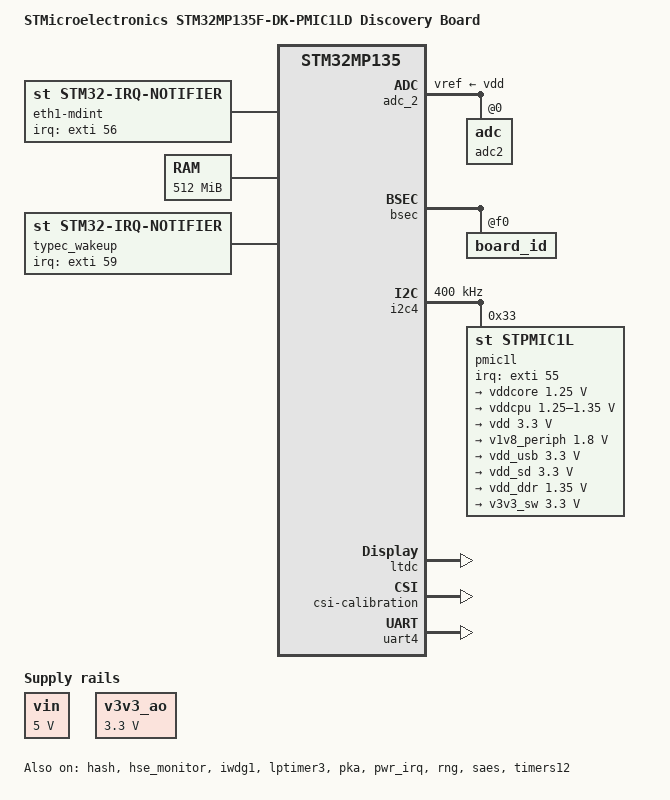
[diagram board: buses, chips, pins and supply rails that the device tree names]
// SPDX-License-Identifier: (GPL-2.0-only OR BSD-3-Clause)
/*
 * Copyright (C) 2025, STMicroelectronics - All Rights Reserved
 */

/dts-v1/;

#include <dt-bindings/clock/stm32mp13-clksrc.h>
#include <dt-bindings/gpio/gpio.h>
#include <dt-bindings/gpio/stm32mp_gpio.h>
#include <dt-bindings/mfd/st,stpmic2.h>
#include <dt-bindings/power/stm32mp1-power.h>
#include <dt-bindings/regulator/st,stm32mp13-regulator.h>
#include <dt-bindings/soc/stm32mp-provisioning.h>
#include <dt-bindings/soc/stm32mp-tzc400-macro.h>
#include <dt-bindings/soc/stm32mp13-tzc400.h>
#include <dt-bindings/tamper/st,stm32mp13-tamp.h>
#include "stm32mp135.dtsi"
#include "stm32mp13xf.dtsi"
#include "stm32mp13-pinctrl.dtsi"

/ {
	model = "STMicroelectronics STM32MP135F-DK-PMIC1LD Discovery Board";
	compatible = "st,stm32mp135f-dk-pmic1ld", "st,stm32mp135";

	aliases {
		serial0 = &uart4;
		serial1 = &usart1;
	};

	chosen {
		stdout-path = "serial0:115200n8";
	};

	eth1-mdint {
		compatible = "st,stm32-irq-notifier";
		interrupts-extended = <&exti 56 IRQ_TYPE_EDGE_FALLING>;
		st,notif-it-id = <3>;
		wakeup-source;
		status = "okay";
	};

	memory@c0000000 {
		device_type = "memory";
		reg = <0xc0000000 0x20000000>;
	};

	reserved-memory {
		#address-cells = <1>;
		#size-cells = <1>;
		ranges;

		optee_framebuffer: optee-framebuffer@dd000000 {
			/* Secure framebuffer memory */
			reg = <0xdd000000 0x1000000>;
			st,protreg = <TZC_REGION_S_RDWR 0>;
		};
	};

	shadow-prov {
		compatible = "st,provisioning";
		hw2_prov {
			nvmem-cells = <&hw2_otp>;
			st,shadow-value = <0x000001E0>;
			st,shadow-lock = <STICKY_LOCK_SR>;
		};
	};

	typec_wakeup: typec_wakeup {
		compatible = "st,stm32-irq-notifier";
		interrupts-extended = <&exti 59 IRQ_TYPE_EDGE_FALLING>;
		wakeup-source;
		st,notif-it-id = <1>;
		status = "okay";
	};

	vin: vin {
		compatible = "regulator-fixed";
		regulator-name = "vin";
		regulator-min-microvolt = <5000000>;
		regulator-max-microvolt = <5000000>;
		regulator-always-on;
	};

	v3v3_ao: v3v3_ao {
		compatible = "regulator-fixed";
		regulator-name = "v3v3_ao";
		regulator-min-microvolt = <3300000>;
		regulator-max-microvolt = <3300000>;
		regulator-always-on;
	};
};

&adc_2 {
	vdda-supply = <&vdd>;
	vref-supply = <&vdd>;
	status = "okay";

	adc2: adc@0 {
		status = "okay";

		channel@15 {
			reg = <15>;
			label = "vbat";
		};
	};
};

&bsec {
	board_id: board_id@f0 {
		reg = <0xf0 0x4>;
		st,non-secure-otp;
	};
};

&cpu0 {
	cpu-supply = <&vddcpu>;
};

&etzpc {
	st,decprot = <
		DECPROT(STM32MP1_ETZPC_ADC1_ID, DECPROT_NS_RW, DECPROT_UNLOCK)
		DECPROT(STM32MP1_ETZPC_ADC2_ID, DECPROT_S_RW, DECPROT_UNLOCK)
		DECPROT(STM32MP1_ETZPC_BKPSRAM_ID, DECPROT_S_RW, DECPROT_UNLOCK)
		DECPROT(STM32MP1_ETZPC_CRYP_ID, DECPROT_NS_RW, DECPROT_UNLOCK)
		DECPROT(STM32MP1_ETZPC_DCMIPP_ID, DECPROT_NS_RW, DECPROT_UNLOCK)
		DECPROT(STM32MP1_ETZPC_DDRCTRLPHY_ID, DECPROT_NS_R_S_W, DECPROT_UNLOCK)
		DECPROT(STM32MP1_ETZPC_ETH1_ID, DECPROT_NS_RW, DECPROT_UNLOCK)
		DECPROT(STM32MP1_ETZPC_ETH2_ID, DECPROT_NS_RW, DECPROT_UNLOCK)
		DECPROT(STM32MP1_ETZPC_FMC_ID, DECPROT_NS_RW, DECPROT_UNLOCK)
		DECPROT(STM32MP1_ETZPC_HASH_ID, DECPROT_S_RW, DECPROT_UNLOCK)
		DECPROT(STM32MP1_ETZPC_I2C3_ID, DECPROT_NS_RW, DECPROT_UNLOCK)
		DECPROT(STM32MP1_ETZPC_I2C4_ID, DECPROT_S_RW, DECPROT_UNLOCK)
		DECPROT(STM32MP1_ETZPC_I2C5_ID, DECPROT_NS_RW, DECPROT_UNLOCK)
		DECPROT(STM32MP1_ETZPC_IWDG1_ID, DECPROT_S_RW, DECPROT_UNLOCK)
		DECPROT(STM32MP1_ETZPC_LPTIM2_ID, DECPROT_NS_RW, DECPROT_UNLOCK)
		DECPROT(STM32MP1_ETZPC_LPTIM3_ID, DECPROT_S_RW, DECPROT_UNLOCK)
		DECPROT(STM32MP1_ETZPC_LTDC_ID, DECPROT_S_RW, DECPROT_UNLOCK)
		DECPROT(STM32MP1_ETZPC_MCE_ID, DECPROT_S_RW, DECPROT_UNLOCK)
		DECPROT(STM32MP1_ETZPC_OTG_ID, DECPROT_NS_RW, DECPROT_UNLOCK)
		DECPROT(STM32MP1_ETZPC_PKA_ID, DECPROT_S_RW, DECPROT_UNLOCK)
		DECPROT(STM32MP1_ETZPC_QSPI_ID, DECPROT_NS_RW, DECPROT_UNLOCK)
		DECPROT(STM32MP1_ETZPC_RNG_ID, DECPROT_S_RW, DECPROT_UNLOCK)
		DECPROT(STM32MP1_ETZPC_SAES_ID, DECPROT_S_RW, DECPROT_UNLOCK)
		DECPROT(STM32MP1_ETZPC_SDMMC1_ID, DECPROT_NS_RW, DECPROT_UNLOCK)
		DECPROT(STM32MP1_ETZPC_SDMMC2_ID, DECPROT_NS_RW, DECPROT_UNLOCK)
		DECPROT(STM32MP1_ETZPC_SPI4_ID, DECPROT_NS_RW, DECPROT_UNLOCK)
		DECPROT(STM32MP1_ETZPC_SPI5_ID, DECPROT_NS_RW, DECPROT_UNLOCK)
		DECPROT(STM32MP1_ETZPC_SRAM1_ID, DECPROT_NS_RW, DECPROT_UNLOCK)
		DECPROT(STM32MP1_ETZPC_SRAM2_ID, DECPROT_NS_RW, DECPROT_UNLOCK)
		DECPROT(STM32MP1_ETZPC_SRAM3_ID, DECPROT_S_RW, DECPROT_UNLOCK)
		DECPROT(STM32MP1_ETZPC_STGENC_ID, DECPROT_S_RW, DECPROT_UNLOCK)
		DECPROT(STM32MP1_ETZPC_TIM12_ID, DECPROT_S_RW, DECPROT_UNLOCK)
		DECPROT(STM32MP1_ETZPC_TIM13_ID, DECPROT_NS_RW, DECPROT_UNLOCK)
		DECPROT(STM32MP1_ETZPC_TIM14_ID, DECPROT_NS_RW, DECPROT_UNLOCK)
		DECPROT(STM32MP1_ETZPC_TIM15_ID, DECPROT_S_RW, DECPROT_UNLOCK)
		DECPROT(STM32MP1_ETZPC_TIM16_ID, DECPROT_NS_RW, DECPROT_UNLOCK)
		DECPROT(STM32MP1_ETZPC_TIM17_ID, DECPROT_NS_RW, DECPROT_UNLOCK)
		DECPROT(STM32MP1_ETZPC_USART1_ID, DECPROT_NS_RW, DECPROT_UNLOCK)
		DECPROT(STM32MP1_ETZPC_USART2_ID, DECPROT_NS_RW, DECPROT_UNLOCK)
		DECPROT(STM32MP1_ETZPC_USBPHYCTRL_ID, DECPROT_NS_RW, DECPROT_UNLOCK)
		DECPROT(STM32MP1_ETZPC_VREFBUF_ID, DECPROT_NS_RW, DECPROT_UNLOCK)
	>;
};

&gpioa {
	st,protreg = < (TZPROT(6)) >;
};

&gpiob {
	st,protreg = < (TZPROT(9)) >;
};

&gpiod {
	st,protreg = < (TZPROT(7)) >;
};

&gpioe {
	st,protreg = < (TZPROT(15)) >;
};

&gpiof {
	st,protreg = < (TZPROT(8)) >;
};

&gpioi {
	st,protreg = < (TZPROT(2) | TZPROT(3)) >;
};

&hash {
	status = "okay";
};

&hse_monitor {
	status = "okay";
};

&i2c4 {
	pinctrl-names = "default";
	pinctrl-0 = <&i2c4_pins_a>;
	i2c-scl-rising-time-ns = <185>;
	i2c-scl-falling-time-ns = <20>;
	clock-frequency = <400000>;
	status = "okay";

	pmic1l: pmic@33 {
		compatible = "st,stpmic1l";
		reg = <0x33>;
		status = "okay";

		interrupts-extended = <&exti 55 IRQ_TYPE_EDGE_FALLING>;
		wakeup-source;
		st,pmic-it-id = <IT_PKEY_FA IT_PKEY_RI>;
		st,notif-it-id = <0 2>;

		regulators {
			compatible = "st,stpmic2-regulators";
			buck1-supply = <&vin>;
			buck2-supply = <&vin>;
			ldo2-supply = <&vin>;
			ldo3-supply = <&vin>;
			ldo4-supply = <&vin>;
			ldo5-supply = <&vin>;

			vddcore: buck1 {
				regulator-name = "vddcore";
				regulator-min-microvolt = <1250000>;
				regulator-max-microvolt = <1250000>;
				regulator-always-on;
				regulator-over-current-protection;
				st,pwrctrl-sel = <1>;
				st,pwrctrl-enable;

				lp-stop {
					regulator-on-in-suspend;
					regulator-suspend-microvolt = <1250000>;
				};
				lplv-stop {
					regulator-on-in-suspend;
					regulator-suspend-microvolt = <900000>;
				};
				standby-ddr-sr {
					regulator-off-in-suspend;
				};
				standby-ddr-off {
					regulator-off-in-suspend;
				};
			};
			vddcpu: buck2 {
				regulator-name = "vddcpu";
				regulator-min-microvolt = <1250000>;
				regulator-max-microvolt = <1350000>;
				regulator-always-on;
				regulator-over-current-protection;

				lp-stop {
					regulator-on-in-suspend;
					regulator-suspend-microvolt = <1250000>;
				};
				lplv-stop {
					regulator-on-in-suspend;
					regulator-suspend-microvolt = <900000>;
				};
				standby-ddr-sr {
					regulator-off-in-suspend;
				};
				standby-ddr-off {
					regulator-off-in-suspend;
				};
			};
			vdd: ldo2 {
				regulator-name = "vdd";
				regulator-min-microvolt = <3300000>;
				regulator-max-microvolt = <3300000>;
				regulator-always-on;
				st,mask-reset;
				st,pwrctrl-sel = <0>;
			};
			v1v8_periph: ldo3 {
				regulator-name = "v1v8_periph";
				regulator-min-microvolt = <1800000>;
				regulator-max-microvolt = <1800000>;
				regulator-always-on;
				st,pwrctrl-sel = <1>;
				st,pwrctrl-enable;

				lp-stop {
					regulator-on-in-suspend;
				};
				lplv-stop {
					regulator-on-in-suspend;
				};
				standby-ddr-sr {
					regulator-off-in-suspend;
				};
				standby-ddr-off {
					regulator-off-in-suspend;
				};
			};
			vdd_usb: ldo4 {
				regulator-name = "vdd_usb";
				regulator-min-microvolt = <3300000>;
				regulator-max-microvolt = <3300000>;
				regulator-always-on;
				st,pwrctrl-sel = <0>;
			};
			vdd_sd: ldo5 {
				regulator-name = "vdd_sd";
				regulator-min-microvolt = <3300000>;
				regulator-max-microvolt = <3300000>;
				regulator-always-on;
				st,pwrctrl-sel = <1>;
				st,pwrctrl-enable;

				lp-stop {
					regulator-off-in-suspend;
				};
				lplv-stop {
					regulator-off-in-suspend;
				};
				standby-ddr-sr {
					regulator-off-in-suspend;
				};
				standby-ddr-off {
					regulator-off-in-suspend;
				};
			};
			vdd_ddr: gpo1 {
				regulator-name = "vdd_ddr";
				regulator-min-microvolt = <1350000>;
				regulator-max-microvolt = <1350000>;
				regulator-always-on;
				st,pwrctrl-sel = <1>;
				st,pwrctrl-enable;

				lp-stop {
					regulator-on-in-suspend;
					regulator-suspend-microvolt = <1350000>;
				};
				lplv-stop {
					regulator-on-in-suspend;
					regulator-suspend-microvolt = <1350000>;
				};
				standby-ddr-sr {
					regulator-on-in-suspend;
					regulator-suspend-microvolt = <1350000>;
				};
				standby-ddr-off {
					regulator-off-in-suspend;
				};
			};
			v3v3_sw: gpo2 {
				regulator-name = "vgpo2";
				regulator-min-microvolt = <3300000>;
				regulator-max-microvolt = <3300000>;
				regulator-always-on;
				st,pwrctrl-sel = <1>;
				st,pwrctrl-enable;

				lp-stop {
					regulator-on-in-suspend;
					regulator-suspend-microvolt = <3300000>;
				};
				lplv-stop {
					regulator-on-in-suspend;
					regulator-suspend-microvolt = <3300000>;
				};
				standby-ddr-sr {
					regulator-off-in-suspend;
				};
				standby-ddr-off {
					regulator-off-in-suspend;
				};
			};
		};
	};
};

&iwdg1 {
	timeout-sec = <32>;
	status = "okay";
};

&ltdc {
	pinctrl-0 = <&ltdc_pins_a>;
	access-controllers-conf-nsec =
		<&etzpc DECPROT(STM32MP1_ETZPC_LTDC_ID, DECPROT_NS_RW, DECPROT_UNLOCK)>,
		<&gpioa (GPIO_STM32_NSEC | TZPROT(15))>,
		<&gpiob (GPIO_STM32_NSEC | TZPROT(6) | TZPROT(12))>,
		<&gpioc (GPIO_STM32_NSEC | TZPROT(6) | TZPROT(7))>,
		<&gpiod (GPIO_STM32_NSEC | TZPROT(5) | TZPROT(9) | TZPROT(10) | TZPROT(14))>,
		<&gpioe (GPIO_STM32_NSEC | TZPROT(0) | TZPROT(7) | TZPROT(9) | TZPROT(13))>,
		<&gpiof (GPIO_STM32_NSEC | TZPROT(1) | TZPROT(2) | TZPROT(3))>,
		<&gpiog (GPIO_STM32_NSEC | TZPROT(0) | TZPROT(4) | TZPROT(7))>,
		<&gpioh (GPIO_STM32_NSEC | TZPROT(9) | TZPROT(13) | TZPROT(14))>;
	access-controllers-conf-sec =
		<&etzpc DECPROT(STM32MP1_ETZPC_LTDC_ID, DECPROT_NS_R_S_W, DECPROT_UNLOCK)>,
		<&gpioa (TZPROT(15))>,
		<&gpiob (TZPROT(6) | TZPROT(12))>,
		<&gpioc (TZPROT(6) | TZPROT(7))>,
		<&gpiod (TZPROT(5) | TZPROT(9) | TZPROT(10) | TZPROT(14))>,
		<&gpioe (TZPROT(0) | TZPROT(7) | TZPROT(9) | TZPROT(13))>,
		<&gpiof (TZPROT(1) | TZPROT(2) | TZPROT(3))>,
		<&gpiog (TZPROT(0) | TZPROT(4) | TZPROT(7))>,
		<&gpioh (TZPROT(9) | TZPROT(13) | TZPROT(14))>;
	status = "okay";
};

&lptimer3 {
	status = "okay";

	counter {
		status = "okay";
	};
};

&oem_enc_key {
	st,non-secure-otp-provisioning;
};

&osc_calibration {
	csi-calibration {
		status = "okay";
	};

	hsi-calibration {
		status = "okay";
	};
};

&pka {
	status = "okay";
};

&pwr_irq {
	status = "okay";
	wakeup-gpios = <&gpiof 8 GPIO_ACTIVE_HIGH>, <&gpioi 3 GPIO_ACTIVE_HIGH>, <0>, <0>, <&gpioi 2 GPIO_PULL_UP>, <0>;
};

&pwr_regulators {
	system_suspend_supported_soc_modes = <
		STM32_PM_CSLEEP_RUN
		STM32_PM_CSTOP_ALLOW_LP_STOP
		STM32_PM_CSTOP_ALLOW_LPLV_STOP
		//STM32_PM_CSTOP_ALLOW_LPLV_STOP2 is not supported
		STM32_PM_CSTOP_ALLOW_STANDBY_DDR_SR
	>;

	system_off_soc_mode = <STM32_PM_SHUTDOWN>;
	vdd-supply = <&vdd>;
	vdd_3v3_usbfs-supply = <&vdd_usb>;
};

&rcc {
	st,clksrc = <
		CLK_MPU_PLL1P
		CLK_AXI_PLL2P
		CLK_MLAHBS_PLL3
		CLK_RTC_LSE
		CLK_MCO1_HSE
		CLK_MCO2_DISABLED
		CLK_CKPER_HSE
		CLK_ETH1_PLL4P
		CLK_ETH2_PLL4P
		CLK_SDMMC1_PLL4P
		CLK_SDMMC2_PLL4P
		CLK_STGEN_HSE
		CLK_USBPHY_HSE
		CLK_I2C4_HSI
		CLK_I2C5_HSI
		CLK_USBO_USBPHY
		CLK_ADC2_CKPER
		CLK_I2C12_HSI
		CLK_UART1_HSI
		CLK_UART2_HSI
		CLK_UART35_HSI
		CLK_UART4_HSI
		CLK_UART6_HSI
		CLK_UART78_HSI
		CLK_SAES_AXI
		CLK_DCMIPP_PLL2Q
		CLK_LPTIM3_PCLK3
		CLK_RNG1_PLL4R
	>;

	st,clkdiv = <
		DIV(DIV_MPU, 1)
		DIV(DIV_AXI, 0)
		DIV(DIV_MLAHB, 0)
		DIV(DIV_APB1, 1)
		DIV(DIV_APB2, 1)
		DIV(DIV_APB3, 1)
		DIV(DIV_APB4, 1)
		DIV(DIV_APB5, 2)
		DIV(DIV_APB6, 1)
		DIV(DIV_RTC, 0)
		DIV(DIV_MCO1, 0)
		DIV(DIV_MCO2, 0)
	>;

	st,pll_vco {
		pll1_vco_2000Mhz: pll1-vco-2000Mhz {
			src = <CLK_PLL12_HSE>;
			divmn = <1 82>;
			frac = <0xAAA>;
		};

		pll1_vco_1800Mhz: pll1-vco-1800Mhz {
			src = <CLK_PLL12_HSE>;
			divmn = <1 74>;
			frac = <0>;
		};

		pll1_vco_1300Mhz: pll1-vco-1300Mhz {
			src = <CLK_PLL12_HSE>;
			divmn = <2 80>;
			frac = <0x800>;
		};

		pll2_vco_1066Mhz: pll2-vco-1066Mhz {
			src = <CLK_PLL12_HSE>;
			divmn = <2 65>;
			frac = <0x1400>;
		};

		pll3_vco_417Mhz: pll3-vco-417Mhz {
			src = <CLK_PLL3_HSE>;
			divmn = <1 33>;
			frac = <0x1a04>;
		};

		pll4_vco_600Mhz: pll4-vco-600Mhz {
			src = <CLK_PLL4_HSE>;
			divmn = <1 49>;
		};
	};

	pll1: st,pll@0 {
		compatible = "st,stm32mp1-pll";
		reg = <0>;

		st,pll = <&pll1_cfg1>;

		/* VCO = 1300.0 MHz => P = 650 (CPU) */
		pll1_cfg1: pll1_cfg1 {
			st,pll_vco = <&pll1_vco_1300Mhz>;
			st,pll_div_pqr = <0 1 1>;
		};

		/* VCO = 2000.0 MHz => P = 1000 (CPU) */
		pll1_cfg2: pll1_cfg2 {
			st,pll_vco = <&pll1_vco_2000Mhz>;
			st,pll_div_pqr = <0 1 1>;
		};

		/* VCO = 1800.0 MHz => P = 900 (CPU) */
		pll1_cfg3: pll1_cfg3 {
			st,pll_vco = <&pll1_vco_1800Mhz>;
			st,pll_div_pqr = <0 1 1>;
		};
	};

	/* VCO = 1066.0 MHz => P = 266 (AXI), Q = 266, R = 533 (DDR) */
	pll2: st,pll@1 {
		compatible = "st,stm32mp1-pll";
		reg = <1>;

		st,pll = <&pll2_cfg1>;

		pll2_cfg1: pll2_cfg1 {
			st,pll_vco = <&pll2_vco_1066Mhz>;
			st,pll_div_pqr = <1 1 0>;
		};
	};

	/* VCO = 417.8 MHz => P = 209, Q = 24, R = 11 */
	pll3: st,pll@2 {
		compatible = "st,stm32mp1-pll";
		reg = <2>;

		st,pll = <&pll3_cfg1>;

		pll3_cfg1: pll3_cfg1 {
			st,pll_vco = <&pll3_vco_417Mhz>;
			st,pll_div_pqr = <1 16 36>;
		};
	};

	/* VCO = 600.0 MHz => P = 50, Q = 10, R = 50 */
	pll4: st,pll@3 {
		compatible = "st,stm32mp1-pll";
		reg = <3>;
		st,pll = <&pll4_cfg1>;

		pll4_cfg1: pll4_cfg1 {
			st,pll_vco = <&pll4_vco_600Mhz>;
			st,pll_div_pqr = <11 59 11>;
		};
	};

	st,clk_opp {
		/* CK_MPU clock config for MP13 */
		st,ck_mpu {
			cfg_1 {
				hz = <650000000>;
				st,clksrc = <CLK_MPU_PLL1P>;
				st,pll = <&pll1_cfg1>;
			};

			cfg_2 {
				hz = <1000000000>;
				st,clksrc = <CLK_MPU_PLL1P>;
				st,pll = <&pll1_cfg2>;
			};

			cfg_3 {
				hz = <900000000>;
				st,clksrc = <CLK_MPU_PLL1P>;
				st,pll = <&pll1_cfg3>;
			};
		};
	};

	st,rcc {
		compatible = "st,rcc";
		pinctrl-0 = <&rcc_mco_pins_a>;
	};
};

&rng {
	status = "okay";
	clock-error-detect;
};

&saes {
	status = "okay";
};

&scmi_regu {
	voltd-vddcore {
		reg = <VOLTD_SCMI_STPMIC1_BUCK1>;
		voltd-supply = <&vddcore>;
	};
	voltd-vdd {
		reg = <VOLTD_SCMI_STPMIC1_LDO2>;
		voltd-supply = <&vdd>;
	};
	voltd-v1v8-periph {
		reg = <VOLTD_SCMI_STPMIC1_LDO3>;
		voltd-supply = <&v1v8_periph>;
	};
	voltd-vdd-usb {
		reg = <VOLTD_SCMI_STPMIC1_LDO4>;
		voltd-supply = <&vdd_usb>;
	};
	voltd-vdd-sd {
		reg = <VOLTD_SCMI_STPMIC1_LDO5>;
		voltd-supply = <&vdd_sd>;
	};
	voltd-v3v3-sw {
		reg = <VOLTD_SCMI_REGU1>;
		voltd-supply = <&v3v3_sw>;
	};
};

&sdmmc1_io {
	vddsd1-supply = <&vdd>;
};

&sdmmc2_io {
	vddsd2-supply = <&vdd>;
};

&tamp {
	st,tamp-passive-nb-sample = <4>;
	st,tamp-passive-sample-clk-div = <16384>;
	wakeup-source;

	/* Tamper button */
	tamp-button {
		tamper-gpios = <&gpioa 6 0>;
		st,tamp-mode = <TAMPER_CONFIRMED_MODE>;
		st,tamp-id = <2>;
		status = "okay";
	};

	/* Connect pin8 and pin22 from CN8 */
	tamp-active {
		tamper-gpios = <&gpioc 0 0>, <&gpioi 0 0>;
		st,tamp-mode = <TAMPER_CONFIRMED_MODE>;
		st,tamp-id = <3>, <1>;
		status = "disabled";
	};
};

&timers12 {
	status = "okay";

	counter {
		status = "okay";
	};
};

&tzc400 {
	memory-region = <&optee_framebuffer>;
};

&uart4 {
	pinctrl-names = "default";
	pinctrl-0 = <&uart4_pins_a>;
	status = "okay";
};

&usart1 {
	pinctrl-names = "default";
	pinctrl-0 = <&usart1_pins_a>;
	uart-has-rtscts;
	status = "disabled";
};
